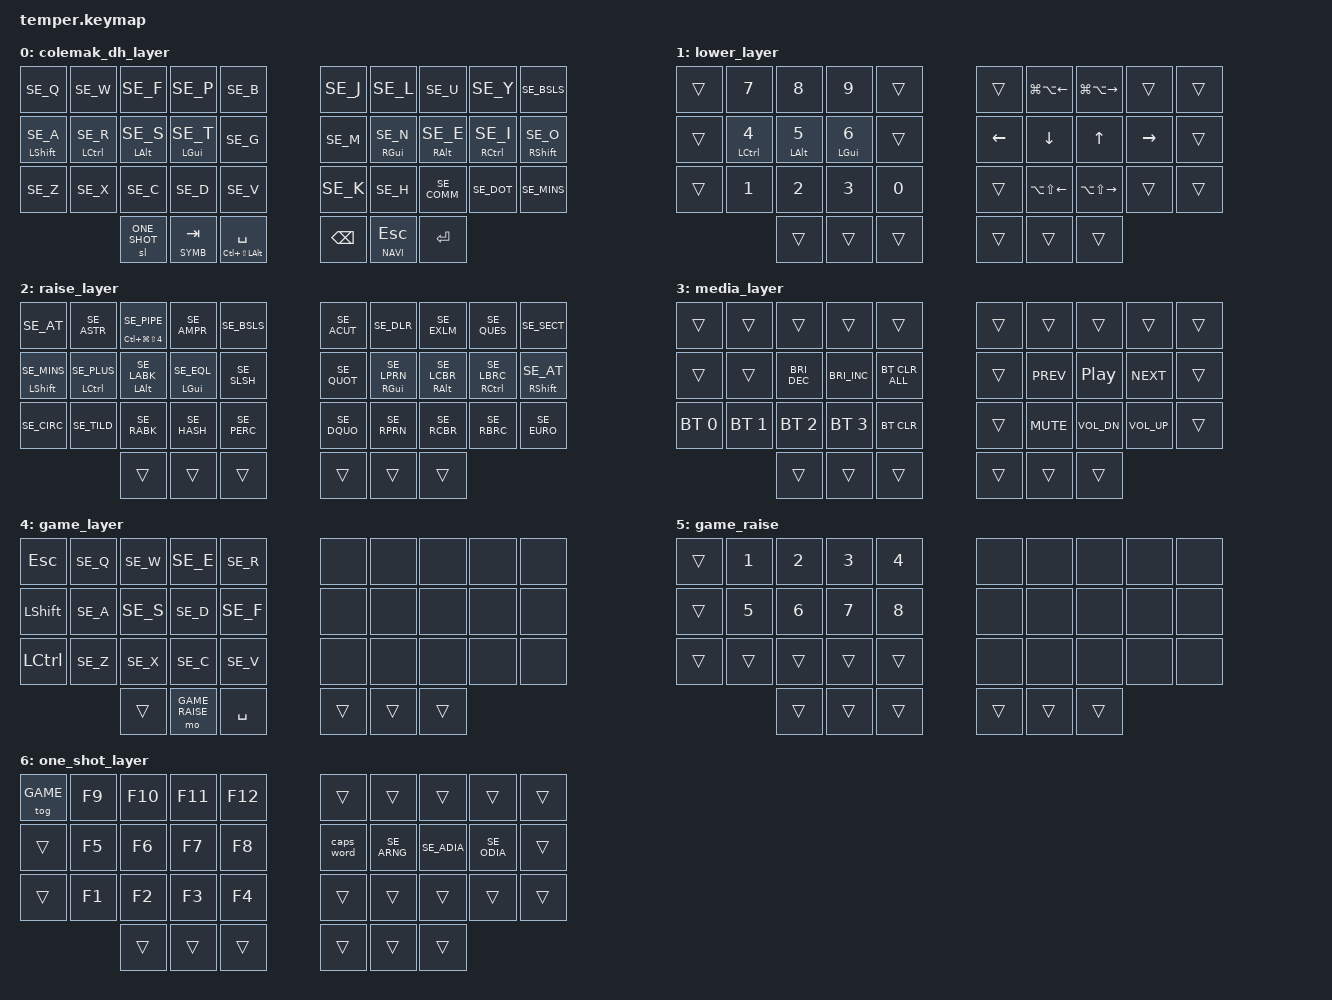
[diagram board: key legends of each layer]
/*
 * Copyright (c) 2020 The ZMK Contributors
 *
 * SPDX-License-Identifier: MIT
 */

#include <behaviors.dtsi>
#include <dt-bindings/zmk/keys.h>
#include <dt-bindings/zmk/bt.h>
#include "keys_se.h"

#define COLEMAK   0
#define NAVI      1
#define SYMB      2
#define MEDIA     3
#define GAME      4
#define GAME_RAISE 5
#define ONE_SHOT  6

&mt {
    flavor = "tap-preferred";
    tapping_term_ms = <200>;
};

/ {
  combos {
    compatible = "zmk,combos";
    combo_layer_three {
      timeout-ms = <50>;
      key-positions = <31 34>;
      bindings = <&mo MEDIA>;
    };
  };
  behaviors {
    hm: homerow_mods {
      compatible = "zmk,behavior-hold-tap";
      label = "HOMEROW_MODS";
      #binding-cells = <2>;
      tapping-term-ms = <200>;
      quick_tap_ms = <0>;
      flavor = "tap-preferred";
      bindings = <&kp>, <&kp>;
    };
    td: tapdance {
      compatible = "zmk,behavior-hold-tap";
      label = "TAPDANCE";
      #binding-cells = <2>;
      tapping-term-ms = <150>;
      quick_tap_ms = <0>;
      flavor = "tap-preferred";
      bindings = <&kp>, <&kp>;
    };
    los: layer_one_shot {
      compatible = "zmk,behavior-hold-tap";
      label = "LAYER_ONE_SHOT";
      #binding-cells = <2>;
      tapping-term-ms = <200>;
      quick_tap_ms = <0>;
      flavor = "tap-preferred";
      bindings = <&mo>, <&sl>;
    };
    lt: layer_tap {
      compatible = "zmk,behavior-hold-tap";
      label = "LAYER_TAP";
      #binding-cells = <2>;
      tapping-term-ms = <200>;
      quick_tap_ms = <0>;
      flavor = "tap-preferred";
      bindings = <&mo>, <&kp>;
    };
  };
  keymap {
    compatible = "zmk,keymap";

    colemak_dh_layer {
      bindings = <
// ╭─────────────┬─────────────┬─────────────┬─────────────┬─────────────╮   ╭─────────────┬─────────────┬─────────────┬─────────────┬─────────────╮
      &kp SE_Q      &kp SE_W      &kp SE_F      &kp SE_P      &kp SE_B          &kp SE_J      &kp SE_L      &kp SE_U      &kp SE_Y     &kp SE_BSLS   
// ├─────────────┼─────────────┼─────────────┼─────────────┼─────────────┤   ├─────────────┼─────────────┼─────────────┼─────────────┼─────────────┤
    &hm LSHFT SE_A &hm LCTRL SE_R &hm LALT SE_S &hm LGUI SE_T &kp SE_G         &kp SE_M    &hm RGUI SE_N &hm RALT SE_E &hm RCTRL SE_I &hm RSHFT SE_O
// ├─────────────┼─────────────┼─────────────┼─────────────┼─────────────┤   ├─────────────┼─────────────┼─────────────┼─────────────┼─────────────┤
      &kp SE_Z      &kp SE_X      &kp SE_C      &kp SE_D      &kp SE_V          &kp SE_K      &kp SE_H     &kp SE_COMM    &kp SE_DOT   &kp SE_MINS
// ╰─────────────┴─────────────┼─────────────┼─────────────┼─────────────┤   ├─────────────┼─────────────┼─────────────┼─────────────┴─────────────╯
                                &sl ONE_SHOT   &lt SYMB TAB &mt LC(LS(LALT)) SPACE &kp BSPC  &lt NAVI ESC    &kp RET
//                             ╰─────────────┴─────────────┴─────────────╯   ╰─────────────┴─────────────┴─────────────╯
      >;
    };

    lower_layer {
      bindings = <
// ╭─────────────┬─────────────┬─────────────┬─────────────┬─────────────╮   ╭─────────────┬─────────────┬─────────────┬─────────────┬─────────────╮
        &trans      &kp N7        &kp N8        &kp N9        &trans            &trans    &kp LG(LA(LEFT)) &kp LG(LA(RIGHT)) &trans     &trans   
// ├─────────────┼─────────────┼─────────────┼─────────────┼─────────────┤   ├─────────────┼─────────────┼─────────────┼─────────────┼─────────────┤
        &trans    &hm LCTRL N4   &hm LALT N5   &hm LGUI N6     &trans           &kp LEFT      &kp DOWN       &kp UP       &kp RIGHT      &trans 
// ├─────────────┼─────────────┼─────────────┼─────────────┼─────────────┤   ├─────────────┼─────────────┼─────────────┼─────────────┼─────────────┤
        &trans       &kp N1       &kp N2        &kp N3         &kp N0           &trans     &kp LA(LS(LEFT)) &kp LA(LS(RIGHT)) &trans     &trans
// ╰─────────────┴─────────────┼─────────────┼─────────────┼─────────────┤   ├─────────────┼─────────────┼─────────────┼─────────────┴─────────────╯
                                   &trans        &trans        &trans            &trans        &trans        &trans
//                             ╰─────────────┴─────────────┴─────────────╯   ╰─────────────┴─────────────┴─────────────╯
      >;
    };

    raise_layer {
      bindings = <
// ╭─────────────┬─────────────┬─────────────┬─────────────┬─────────────╮   ╭─────────────┬─────────────┬─────────────┬─────────────┬─────────────╮
    &kp SE_AT   &kp SE_ASTR  &td LC(LG(LS(N4))) SE_PIPE &kp SE_AMPR &kp SE_BSLS &kp SE_ACUT   &kp SE_DLR    &kp SE_EXLM  &kp SE_QUES   &kp SE_SECT
// ├─────────────┼─────────────┼─────────────┼─────────────┼─────────────┤   ├─────────────┼─────────────┼─────────────┼─────────────┼─────────────┤
    &hm LSHFT SE_MINS &hm LCTRL SE_PLUS &hm LALT SE_LABK &hm LGUI SE_EQL &kp SE_SLSH &kp SE_QUOT &hm RGUI SE_LPRN &hm RALT SE_LCBR &hm RCTRL SE_LBRC &hm RSHFT SE_AT
// ├─────────────┼─────────────┼─────────────┼─────────────┼─────────────┤   ├─────────────┼─────────────┼─────────────┼─────────────┼─────────────┤
     &kp SE_CIRC   &kp SE_TILD   &kp SE_RABK   &kp SE_HASH   &kp SE_PERC       &kp SE_DQUO   &kp SE_RPRN   &kp SE_RCBR   &kp SE_RBRC   &kp SE_EURO
// ╰─────────────┴─────────────┼─────────────┼─────────────┼─────────────┤   ├─────────────┼─────────────┼─────────────┼─────────────┴─────────────╯
                                   &trans        &trans        &trans            &trans        &trans        &trans
//                             ╰─────────────┴─────────────┴─────────────╯   ╰─────────────┴─────────────┴─────────────╯
      >;
    };

    media_layer {
      bindings = <
// ╭─────────────┬─────────────┬─────────────┬─────────────┬─────────────╮   ╭─────────────┬─────────────┬─────────────┬─────────────┬─────────────╮
       &trans         &trans       &trans        &trans        &trans            &trans         &trans       &trans        &trans        &trans
// ├─────────────┼─────────────┼─────────────┼─────────────┼─────────────┤   ├─────────────┼─────────────┼─────────────┼─────────────┼─────────────┤
       &trans         &trans    &kp C_BRI_DEC &kp C_BRI_INC &bt BT_CLR_ALL       &trans       &kp C_PREV    &kp C_PP      &kp C_NEXT     &trans
// ├─────────────┼─────────────┼─────────────┼─────────────┼─────────────┤   ├─────────────┼─────────────┼─────────────┼─────────────┼─────────────┤
    &bt BT_SEL 0  &bt BT_SEL 1  &bt BT_SEL 2  &bt BT_SEL 3   &bt BT_CLR          &trans      &kp C_MUTE    &kp C_VOL_DN  &kp C_VOL_UP    &trans
// ╰─────────────┴─────────────┼─────────────┼─────────────┼─────────────┤   ├─────────────┼─────────────┼─────────────┼─────────────┴─────────────╯
                                   &trans        &trans        &trans            &trans        &trans        &trans
//                             ╰─────────────┴─────────────┴─────────────╯   ╰─────────────┴─────────────┴─────────────╯
      >;
    };


    game_layer {
      bindings = <
// ╭─────────────┬─────────────┬─────────────┬─────────────┬─────────────╮   ╭─────────────┬─────────────┬─────────────┬─────────────┬─────────────╮
      &kp ESC      &kp SE_Q        &kp SE_W      &kp SE_E      &kp SE_R          &none         &none          &none         &none        &none
// ├─────────────┼─────────────┼─────────────┼─────────────┼─────────────┤   ├─────────────┼─────────────┼─────────────┼─────────────┼─────────────┤
      &kp LSHFT   &kp SE_A         &kp SE_S      &kp SE_D     &kp SE_F           &none         &none          &none         &none        &none
// ├─────────────┼─────────────┼─────────────┼─────────────┼─────────────┤   ├─────────────┼─────────────┼─────────────┼─────────────┼─────────────┤
      &kp LCTRL      &kp SE_Z      &kp SE_X      &kp SE_C      &kp SE_V          &none         &none          &none         &none        &none
// ╰─────────────┴─────────────┼─────────────┼─────────────┼─────────────┤   ├─────────────┼─────────────┼─────────────┼─────────────┴─────────────╯
                                   &trans      &mo GAME_RAISE &kp SPACE          &trans        &trans        &trans
//                             ╰─────────────┴─────────────┴─────────────╯   ╰─────────────┴─────────────┴─────────────╯
      >;
    };


    game_raise {
      bindings = <
// ╭─────────────┬─────────────┬─────────────┬─────────────┬─────────────╮   ╭─────────────┬─────────────┬─────────────┬─────────────┬─────────────╮
      &trans         &kp N1        &kp N2        &kp N3       &kp N4            &none         &none          &none         &none        &none
// ├─────────────┼─────────────┼─────────────┼─────────────┼─────────────┤   ├─────────────┼─────────────┼─────────────┼─────────────┼─────────────┤
      &trans         &kp N5        &kp N6        &kp N7       &kp N8            &none         &none          &none         &none        &none
// ├─────────────┼─────────────┼─────────────┼─────────────┼─────────────┤   ├─────────────┼─────────────┼─────────────┼─────────────┼─────────────┤
      &trans         &trans        &trans        &trans       &trans            &none         &none          &none         &none        &none
// ╰─────────────┴─────────────┼─────────────┼─────────────┼─────────────┤   ├─────────────┼─────────────┼─────────────┼─────────────┴─────────────╯
                                   &trans        &trans        &trans          &trans        &trans        &trans
//                             ╰─────────────┴─────────────┴─────────────╯   ╰─────────────┴─────────────┴─────────────╯
      >;
    };

    one_shot_layer {
      bindings = <
// ╭─────────────┬─────────────┬─────────────┬─────────────┬─────────────╮   ╭─────────────┬─────────────┬─────────────┬─────────────┬─────────────╮
        &tog GAME     &kp F9        &kp F10      &kp F11       &kp F12           &trans         &trans       &trans        &trans        &trans
// ├─────────────┼─────────────┼─────────────┼─────────────┼─────────────┤   ├─────────────┼─────────────┼─────────────┼─────────────┼─────────────┤
        &trans        &kp F5        &kp F6       &kp F7         &kp F8         &caps_word    &kp SE_ARNG   &kp SE_ADIA   &kp SE_ODIA     &trans
// ├─────────────┼─────────────┼─────────────┼─────────────┼─────────────┤   ├─────────────┼─────────────┼─────────────┼─────────────┼─────────────┤
        &trans        &kp F1        &kp F2       &kp F3         &kp F4           &trans        &trans        &trans        &trans        &trans
// ╰─────────────┴─────────────┼─────────────┼─────────────┼─────────────┤   ├─────────────┼─────────────┼─────────────┼─────────────┴─────────────╯
                                   &trans        &trans        &trans            &trans        &trans        &trans
//                             ╰─────────────┴─────────────┴─────────────╯   ╰─────────────┴─────────────┴─────────────╯
      >;
    };

  };
};
